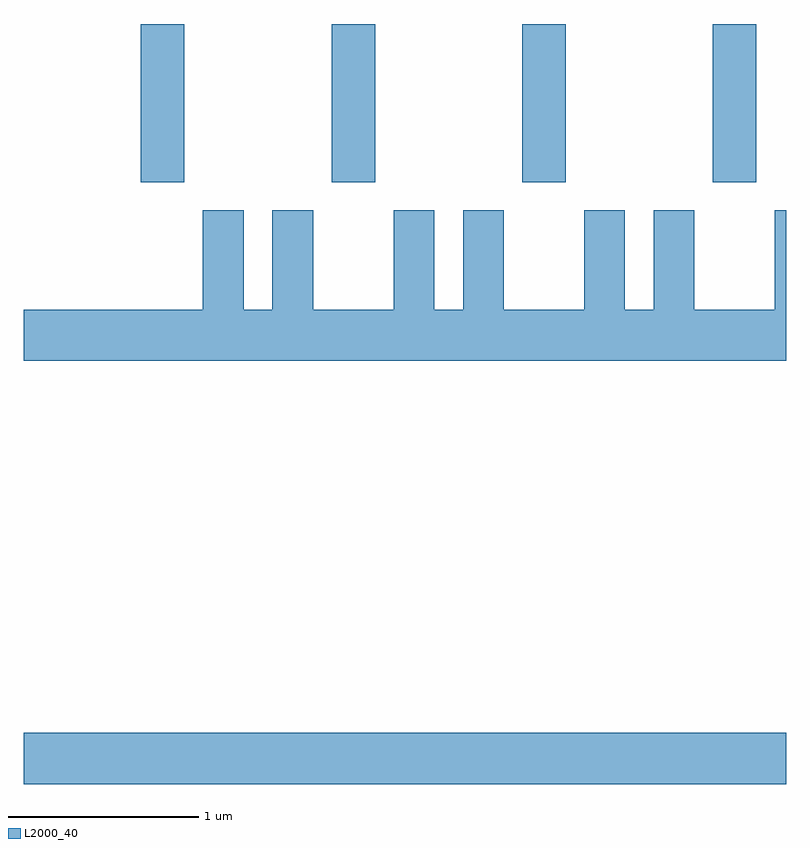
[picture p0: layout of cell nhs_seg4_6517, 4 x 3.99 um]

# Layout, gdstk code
import gdstk
lib = gdstk.Library(unit=1e-6, precision=1e-09)
def R(c, l, rs):  # rectangles x0, y0, x1, y1
    for r in rs: c.add(gdstk.rectangle(r[:2], r[2:], *l))
def A(c, l, x, y, w, h, nx, ny, dx, dy):  # array of equal rectangles
    R(c, l, [(x+i*dx, y+j*dy, x+i*dx+w, y+j*dy+h) for i in range(nx) for j in range(ny)])
def P(c, l, *ps):  # polygons
    for p in ps: c.add(gdstk.Polygon(p, *l))
L2000_40 = (2000, 40)

nhs_seg4_6517 = lib.new_cell('nhs_seg4_6517')
A(nhs_seg4_6517, L2000_40, 376.226, 1371.151, 0.228, 0.831, 4, 1, 1, 0)
R(nhs_seg4_6517, L2000_40, [(375.611,1367.996,379.611,1368.264)])
P(nhs_seg4_6517, L2000_40, [(379.611,1371.004),(379.551,1371.004),(379.551,1370.484),(379.129,1370.484),(379.129,1371.004),(378.916,1371.004),(378.916,1370.484),(378.764,1370.484),(378.764,1371.004),(378.551,1371.004),(378.551,1370.484),(378.129,1370.484),(378.129,1371.004),(377.916,1371.004),(377.916,1370.484),(377.764,1370.484),(377.764,1371.004),(377.551,1371.004),(377.551,1370.484),(377.129,1370.484),(377.129,1371.004),(376.916,1371.004),(376.916,1370.484),(376.764,1370.484),(376.764,1371.004),(376.551,1371.004),(376.551,1370.484),(375.611,1370.484),(375.611,1370.216),(379.611,1370.216)])

lib.write_gds('nhs_seg4_6517.gds')
